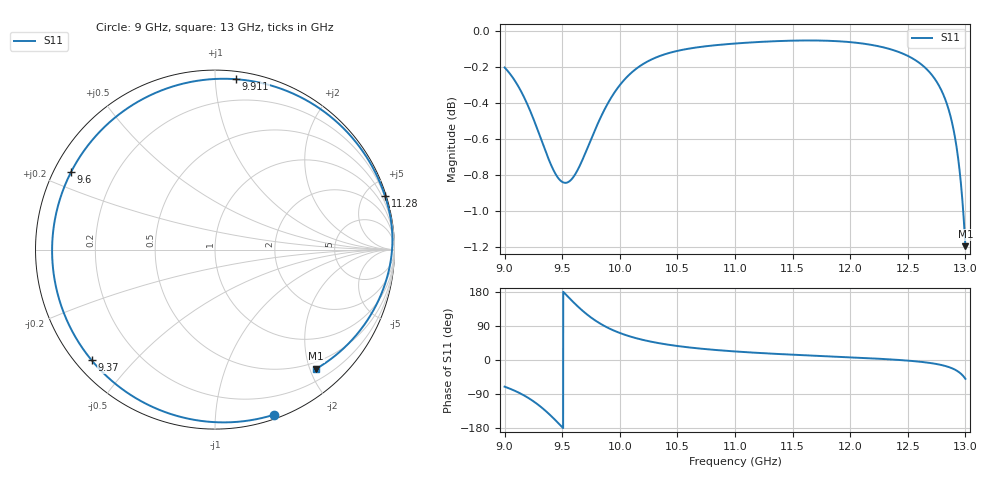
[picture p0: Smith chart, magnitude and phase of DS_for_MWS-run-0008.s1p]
! TOUCHSTONE file generated by CST DESIGN STUDIO
! Date and time: Tue Feb  4 16:43:54 2025
! Project name: C:\Work\MatlabApps\UnitCellOptimizationMatlab\CST\unitcell.cst
! Tree item: Tasks\Sweep1\SPara1\S-Parameters
! Header version: 2024
! Port assignment regex: !\s*Touchstone port\s*([0-9]+)\s*=\s*(CST MWS port|CST DES external port|CST DES block port)\s*(.+)\s* \(\"(.*)\"\)(\s*mode\s*([0-9]+))?.*
! Touchstone port assignment:
! Touchstone port 1 = CST DES external port 1 ("")
# GHz S MA R 50
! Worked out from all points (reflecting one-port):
!   4001 points, 9 GHz to 13 GHz, reference 50 ohm
!   lowest |S11| = -1.2 dB at 13 GHz (marker M1), VSWR 14.54, Z = 19.1 - j105 ohm
!   phase of S11 starts at -70 deg and turns -339 deg over the sweep
!   S11 on the Smith chart (normalised r, x): 9 GHz: 0.04, -1.42; 9.37 GHz: 0.05, -0.38; 9.6 GHz: 0.05, +0.25; 9.911 GHz: 0.05, +1.13; 11.28 GHz: 0.15, +6.53; 13 GHz: 0.38, -2.10
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9  0.9769 -70.4
9.102  0.9672 -83.1
9.216  0.9512 -102.1
9.296  0.937 -119.2
9.37  0.9233 -138.1
9.439  0.9129 -158.2
9.5  0.9079 -177.2
9.549  0.9077 167.3
9.6  0.911 151.6
9.671  0.9201 131.5
9.742  0.9316 114.0
9.819  0.944 98.1
9.911  0.9566 82.9
10  0.966 71.3
10.101  0.9737 61.0
10.215  0.9797 52.0
10.346  0.9841 44.1
10.5  0.9874 37.0
10.72  0.9901 29.4
11  0.992 22.6
11.279  0.9933 17.4
11.5  0.9939 14.0
12  0.9929 7.1
12.5  0.9842 -1.6
12.712  0.972 -8.7
12.856  0.9507 -18.6
12.936  0.9223 -30.3
13  0.8713 -49.7
